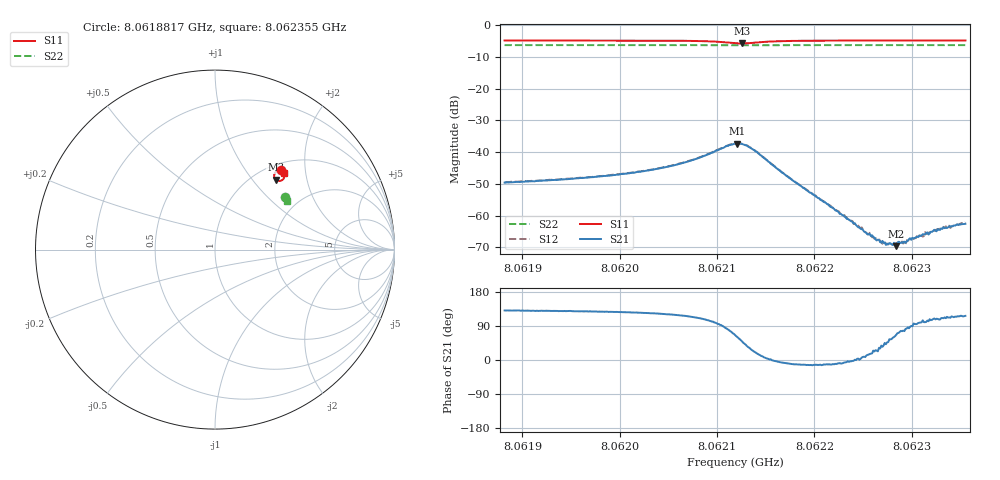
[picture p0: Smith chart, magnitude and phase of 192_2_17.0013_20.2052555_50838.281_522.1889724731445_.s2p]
#  HZ  S  RI  R  50.00
! Rohde & Schwarz Vector Network Analyzer
! Rohde-Schwarz,ZNB20-2Port,1311601062101988,3.16
! Created: UTC 3/20/2024, 11:00:42 PM
! freq[Hz]  re:S11  im:S11  re:S21  im:S21  re:S12  im:S12  re:S22  im:S22
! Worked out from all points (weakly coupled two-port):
!   401 points, 8.0618817 GHz to 8.062355 GHz, reference 50 ohm
!   highest |S21| = -37.29 dB at 8.0621207 GHz (marker M1); lowest = -69.7 dB at 8.062284 GHz (marker M2)
!   lowest |S11| = -5.7 dB at 8.0621255 GHz (marker M3), VSWR 3.13, Z = 62.2 + j66.1 ohm
!   |S11| at or under -10 dB: nowhere
!   |S22| runs from -6.3 to -6.3 dB; largest |S21 - S12| = 0.001
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8.0618817e9  0.3688 0.4423  -0.00216 0.0025  -0.00202 0.00264  0.3875 0.2942
8.06196098e9  0.375 0.4363  -0.00244 0.00305  -0.00225 0.00321  0.3902 0.2902
8.06199766e9  0.3783 0.4326  -0.00263 0.00354  -0.00244 0.00377  0.3915 0.2883
8.06204026e9  0.3828 0.4258  -0.00295 0.00466  -0.00271 0.0049  0.393 0.286
8.06207339e9  0.3863 0.4152  -0.00303 0.00674  -0.00263 0.007  0.3941 0.284
8.06210061e9  0.3817 0.3947  -0.000967 0.0107  -0.00041 0.0109  0.3943 0.2819
8.06211836e9  0.3542 0.3825  0.00548 0.0124  0.00641 0.0121  0.3934 0.281
8.06212073e9  0.3485 0.3836  0.00667 0.0119  0.00748 0.0115  0.3933 0.281
8.06212546e9  0.3384 0.3897  0.00874 0.0103  0.00946 0.00967  0.3932 0.2813
8.06213848e9  0.3299 0.4167  0.0099 0.00385  0.0102 0.00332  0.3935 0.282
8.06216924e9  0.3533 0.439  0.00443 -0.000597  0.00443 -0.000876  0.3961 0.281
8.06219764e9  0.3652 0.4388  0.00213 -0.000529  0.00212 -0.000636  0.3975 0.2795
8.06223077e9  0.3726 0.4362  0.000955 -0.000106  0.001 -0.000165  0.3988 0.2777
8.06225326e9  0.376 0.4345  0.000522 0.000108  0.000522 0.000112  0.3996 0.2765
8.06226627e9  0.3775 0.4336  0.000349 0.000221  0.000382 0.000204  0.4001 0.2759
8.06227219e9  0.3781 0.4331  0.000268 0.000268  0.000267 0.000262  0.4002 0.2756
8.06227692e9  0.3787 0.4328  0.000211 0.0003  0.000227 0.000284  0.4003 0.2754
8.06228402e9  0.3794 0.4322  0.000131 0.000302  0.000162 0.000334  0.4006 0.275
8.06229112e9  0.3801 0.4317  8.06e-05 0.000365  5.98e-05 0.000358  0.4008 0.2747
8.06232189e9  0.3829 0.4297  -0.000178 0.000543  -0.000142 0.000556  0.4019 0.2731
8.06234555e9  0.385 0.4282  -0.000291 0.000648  -0.000252 0.000668  0.4025 0.2718
8.06235502e9  0.3856 0.4277  -0.00033 0.000664  -0.000323 0.000711  0.4029 0.2713
